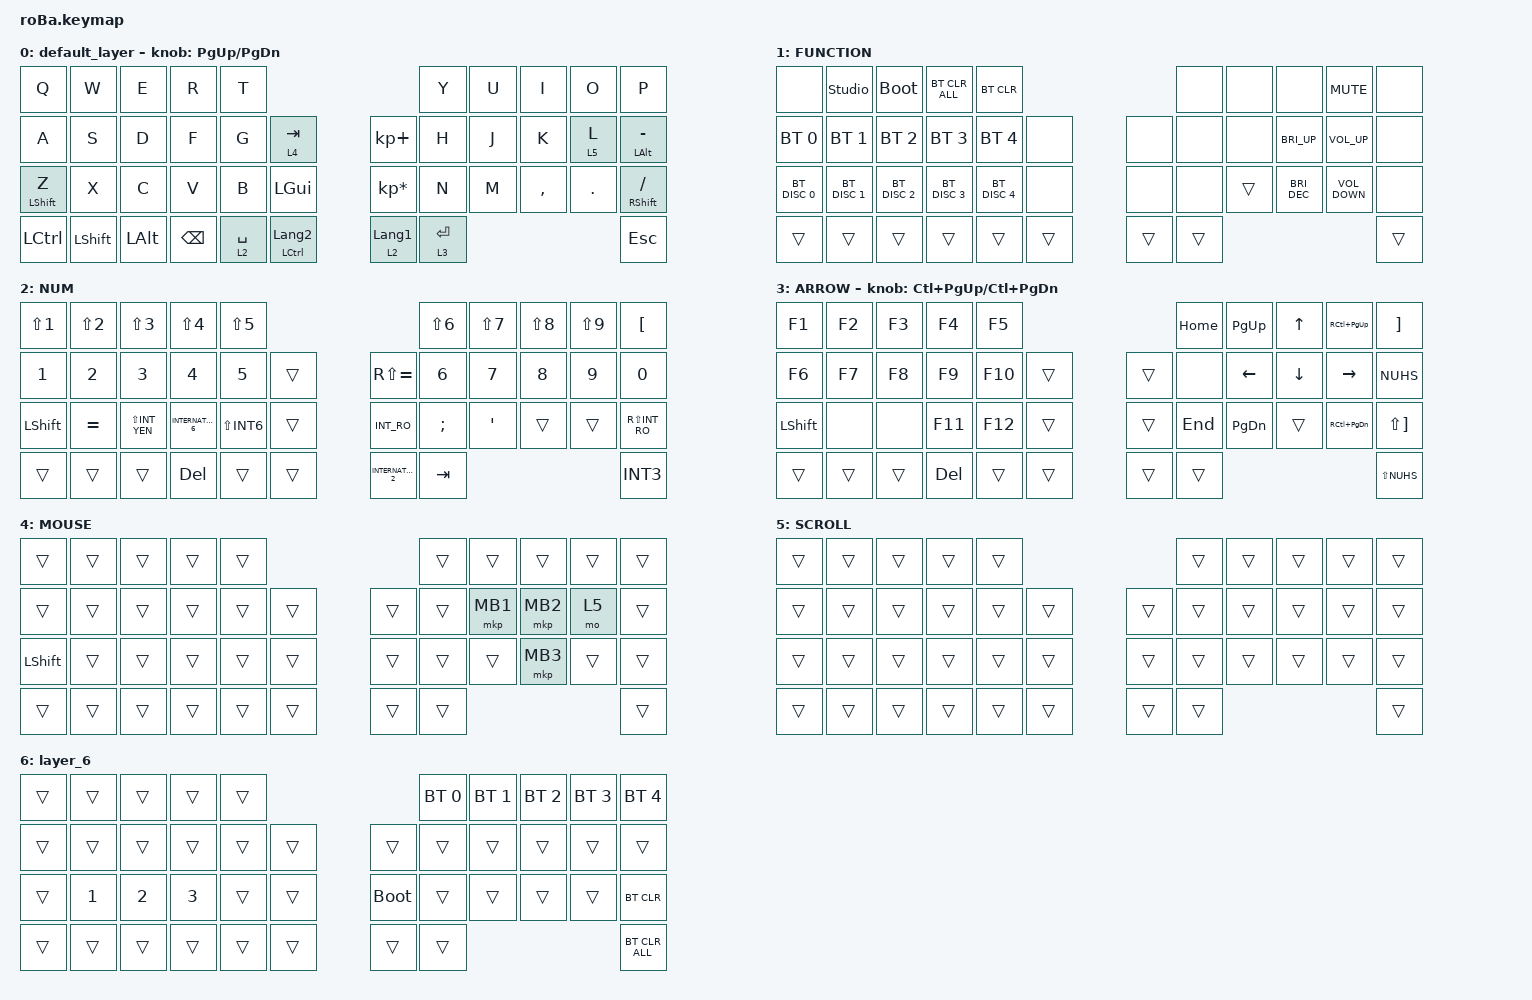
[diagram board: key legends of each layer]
#include <behaviors.dtsi>
#include <dt-bindings/zmk/bt.h>
#include <dt-bindings/zmk/keys.h>
#include <dt-bindings/zmk/pointing.h>

#define MOUSE 4
#define SCROLL 5
#define NUM 6

&mt {
    flavor = "balanced";
    quick-tap-ms = <0>;
};

/ {
    combos {
        compatible = "zmk,combos";

        function_layer {
            bindings = <&mo 1>;
            key-positions = <16 28>;
        };
    };

    macros {
        to_layer_0: to_layer_0 {
            compatible = "zmk,behavior-macro-one-param";
            #binding-cells = <1>;
            bindings = <&to 0 &macro_param_1to1 &kp MACRO_PLACEHOLDER>;
            label = "TO_LAYER_0";
        };
    };

    behaviors {
        lt_to_layer_0: lt_to_layer_0 {
            compatible = "zmk,behavior-hold-tap";
            label = "LAYER_TAP_TO_0";
            bindings = <&mo>, <&to_layer_0>;

            #binding-cells = <2>;
            tapping-term-ms = <200>;
        };
    };

    keymap {
        compatible = "zmk,keymap";

        default_layer {
            bindings = <
&kp Q             &kp W           &kp E         &kp R          &kp T                                                           &kp Y        &kp U  &kp I      &kp O    &kp P
&kp A             &kp S           &kp D         &kp F          &kp G        &lt 4 TAB                        &kp KP_PLUS       &kp H        &kp J  &kp K      &lt 5 L  &mt LEFT_ALT MINUS
&mt LEFT_SHIFT Z  &kp X           &kp C         &kp V          &kp B        &kp LEFT_GUI                     &kp KP_MULTIPLY   &kp N        &kp M  &kp COMMA  &kp DOT  &mt RIGHT_SHIFT SLASH
&kp LCTRL         &kp LEFT_SHIFT  &kp LEFT_ALT  &kp BACKSPACE  &lt 2 SPACE  &mt LEFT_CONTROL LANGUAGE_2      &lt 2 LANGUAGE_1  &lt 3 ENTER                             &kp ESCAPE
            >;

            sensor-bindings = <&inc_dec_kp PG_UP PAGE_DOWN>;
        };

        FUNCTION {
            bindings = <
&none          &studio_unlock  &bootloader    &bt BT_CLR_ALL  &bt BT_CLR                         &none   &none   &none          &kp C_MUTE         &none
&bt BT_SEL 0   &bt BT_SEL 1    &bt BT_SEL 2   &bt BT_SEL 3    &bt BT_SEL 4   &none       &none   &none   &none   &kp C_BRI_UP   &kp C_VOLUME_UP    &none
&bt BT_DISC 0  &bt BT_DISC 1   &bt BT_DISC 2  &bt BT_DISC 3   &bt BT_DISC 4  &none       &none   &none   &trans  &kp C_BRI_DEC  &kp C_VOLUME_DOWN  &none
&trans         &trans          &trans         &trans          &trans         &trans      &trans  &trans                                            &trans
            >;
        };

        NUM {
            bindings = <
&kp LS(NUMBER_1)  &kp LS(NUMBER_2)  &kp LS(NUMBER_3)  &kp LS(NUMBER_4)     &kp LS(N5)                                     &kp LS(NUMBER_6)  &kp LS(N7)  &kp LS(N8)  &kp LS(N9)  &kp LBKT
&kp NUMBER_1      &kp NUMBER_2      &kp NUMBER_3      &kp NUMBER_4         &kp N5        &trans      &kp RS(EQUAL)        &kp NUMBER_6      &kp N7      &kp N8      &kp N9      &kp N0
&kp LEFT_SHIFT    &kp EQUAL         &kp LS(INT_YEN)   &kp INTERNATIONAL_6  &kp LS(INT6)  &trans      &kp INT_RO           &kp SEMICOLON     &kp APOS    &trans      &trans      &kp RS(INT_RO)
&trans            &trans            &trans            &kp DELETE           &trans        &trans      &kp INTERNATIONAL_2  &kp TAB                                               &kp INT3
            >;
        };

        ARROW {
            bindings = <
&kp F1          &kp F2  &kp F3  &kp F4      &kp F5                       &kp HOME  &kp PG_UP      &kp UP_ARROW    &kp RC(PG_UP)      &kp RBKT
&kp F6          &kp F7  &kp F8  &kp F9      &kp F10  &trans      &trans  &none     &kp LEFT       &kp DOWN_ARROW  &kp RIGHT          &kp NUHS
&kp LEFT_SHIFT  &none   &none   &kp F11     &kp F12  &trans      &trans  &kp END   &kp PAGE_DOWN  &trans          &kp RC(PAGE_DOWN)  &kp LS(RBKT)
&trans          &trans  &trans  &kp DELETE  &trans   &trans      &trans  &trans                                                      &kp LS(NUHS)
            >;

            sensor-bindings = <&inc_dec_kp LC(PAGE_UP) LC(PAGE_DOWN)>;
        };

        MOUSE {
            bindings = <
&trans          &trans  &trans  &trans  &trans                      &trans  &trans    &trans    &trans  &trans
&trans          &trans  &trans  &trans  &trans  &trans      &trans  &trans  &mkp MB1  &mkp MB2  &mo 5   &trans
&kp LEFT_SHIFT  &trans  &trans  &trans  &trans  &trans      &trans  &trans  &trans    &mkp MB3  &trans  &trans
&trans          &trans  &trans  &trans  &trans  &trans      &trans  &trans                              &trans
            >;
        };

        SCROLL {
            bindings = <
&trans  &trans  &trans  &trans  &trans                      &trans  &trans  &trans  &trans  &trans
&trans  &trans  &trans  &trans  &trans  &trans      &trans  &trans  &trans  &trans  &trans  &trans
&trans  &trans  &trans  &trans  &trans  &trans      &trans  &trans  &trans  &trans  &trans  &trans
&trans  &trans  &trans  &trans  &trans  &trans      &trans  &trans                          &trans
            >;
        };

        layer_6 {
            bindings = <
&trans  &trans        &trans        &trans        &trans                           &bt BT_SEL 0  &bt BT_SEL 1  &bt BT_SEL 2  &bt BT_SEL 3  &bt BT_SEL 4
&trans  &trans        &trans        &trans        &trans  &trans      &trans       &trans        &trans        &trans        &trans        &trans
&trans  &kp NUMBER_1  &kp NUMBER_2  &kp NUMBER_3  &trans  &trans      &bootloader  &trans        &trans        &trans        &trans        &bt BT_CLR
&trans  &trans        &trans        &trans        &trans  &trans      &trans       &trans                                                  &bt BT_CLR_ALL
            >;
        };
    };
};
